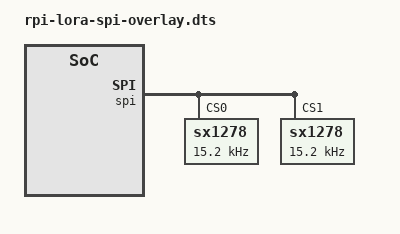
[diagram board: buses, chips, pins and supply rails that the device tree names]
/dts-v1/;
/plugin/;

/ {
	fragment@0 {
		target = <&spi>;
		__overlay__ {
			#address-cells = <1>;
			#size-cells = <0>;

			spidev@0 {
				status = "disabled";
			};

			spidev@1 {
				status = "disabled";
			};
			
			sx1278@0 {
				compatible = "sx1278";
				reg = <0>;
				status = "okay";
				spi-max-frequency = <0x3b60>;
				center-carrier-frq = <433000000>;
				clock-frequency = <32000000>;
				rf-bandwidth = <500000>;
				minimal-RF-channel = /bits/ 8 <0>;
				maximum-RF-channel = /bits/ 8 <0>;
				tx_power = <1600>;
			};

			sx1278@1 {
				compatible = "sx1278";
				reg = <1>;
				status = "okay";
				spi-max-frequency = <0x3b60>;
				center-carrier-frq = <433000000>;
				clock-frequency = <32000000>;
				rf-bandwidth = <500000>;
				minimal-RF-channel = /bits/ 8 <0>;
				maximum-RF-channel = /bits/ 8 <0>;
				tx_power = <1600>;
			};
		};
	};
};
